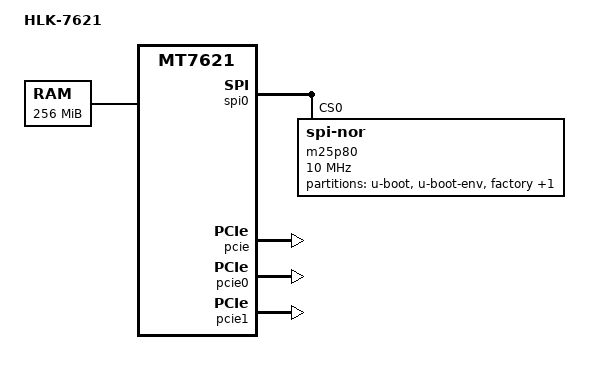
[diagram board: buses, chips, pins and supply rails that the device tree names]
/dts-v1/;

#include "mt7621.dtsi"

/ {
	compatible = "hlk,7621", "mediatek,mt7621-soc";
	model = "HLK-7621";


	memory@0 {
		device_type = "memory";
		reg = <0x0 0x10000000>;
	};

	chosen {
		bootargs = "console=ttyS0,57600";
	};
};

&spi0 {
	status = "okay";

	m25p80@0 {
		compatible = "jedec,spi-nor";
		reg = <0>;
		spi-max-frequency = <10000000>;

		partitions {
			compatible = "fixed-partitions";
			#address-cells = <1>;
			#size-cells = <1>;

			partition@0 {
				label = "u-boot";
				reg = <0x0 0x30000>;
				read-only;
			};

			partition@30000 {
				label = "u-boot-env";
				reg = <0x30000 0x10000>;
				read-only;
			};

			factory: partition@40000 {
				label = "factory";
				reg = <0x40000 0x10000>;
				read-only;
			};

			partition@50000 {
				compatible = "denx,uimage";
				label = "firmware";
				reg = <0x50000 0x1fb0000>;
			};
		};
	};
};

&pcie {
	status = "okay";
};

&pcie0 {
	status = "okay";
};

&pcie1 {
	status = "okay";
};

&ethernet {
	mtd-mac-address = <&factory 0xe000>;
};

&pinctrl {
	state_default: pinctrl0 {
		gpio {
			ralink,group = "i2c", "jtag", "uart2", "uart3";
			ralink,function = "gpio";
		};
	};
};
